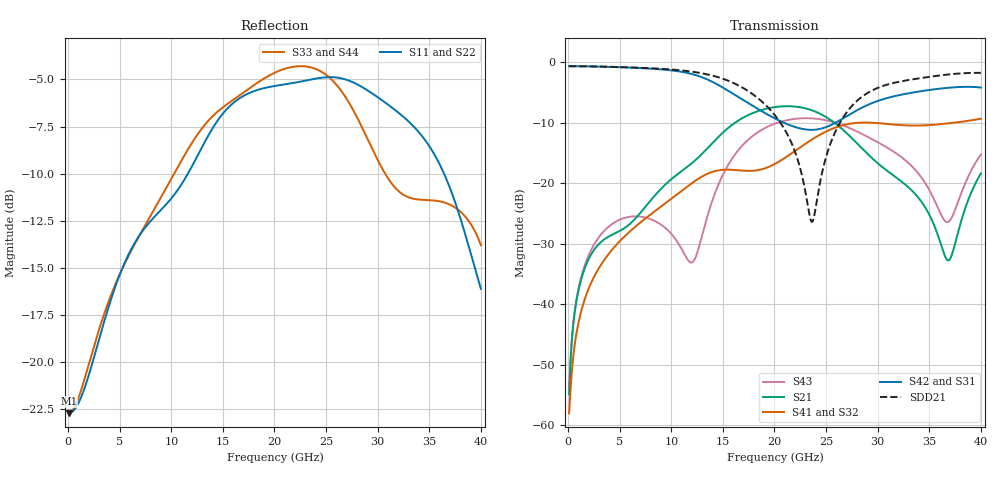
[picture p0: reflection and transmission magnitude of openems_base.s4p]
! E_s8_L1L3_p1000_oval_g2: pair L1→L3, pitch 1 mm, one oval antipad, 2 GND vias
! stackup: 8-layer 1.6 mm FR-4 (generic)
! ports: 1 P near, 2 N near, 3 P far, 4 N far
! openEMS 0.37.0, staircase, base mesh (dfine 0.035 mm), 768105 cells
# Hz S RI R 50
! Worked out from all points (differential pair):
!   400 points, 100 MHz to 40 GHz, reference 50 ohm
!   strongest paths, dB at 100 MHz, 10.1 GHz, 20.1 GHz, 30.1 GHz, 40 GHz:
!     S42: -0.7, -1.4, -9.3, -6.4, -4.2
!     S31: -0.7, -1.4, -9.3, -6.4, -4.2
!     S41: -58.0, -22.4, -16.8, -10.1, -9.3
!     S32: -58.0, -22.4, -16.8, -10.1, -9.3
!     S21: -54.9, -19.2, -7.4, -16.8, -18.4
!     S43: -54.8, -28.6, -10.1, -13.3, -15.3
!   taken as a pair (ports 2,1 in; 4,3 out), SDD21 dB: -0.7, -1.2, -8.9, -4.2, -1.8
!   lowest |S11| = -22.7 dB at 100 MHz (marker M1), VSWR 1.16, Z = 43.2 - j0.059 ohm
!   |S11| at or under -10 dB: start of sweep to 11.61 GHz; 36.43 GHz to end of sweep
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1e8  -0.0733 -0.000679  0.00125 0.00129  0.9259 -0.0353  0.001 -0.000765
     0.00125 0.00129  -0.0733 -0.000679  0.001 -0.000765  0.9259 -0.0353
     0.9259 -0.0353  0.000997 -0.000764  -0.0732 -0.000672  0.00124 0.00132
     0.000997 -0.000764  0.9259 -0.0353  0.00124 0.00132  -0.0732 -0.000672
4.1e9  -0.1417 0.0313  0.0368 0.00259  0.0117 -0.914  -0.0271 0.00072
       0.0368 0.00259  -0.1417 0.0313  -0.0271 0.00072  0.0117 -0.914
       0.0117 -0.914  -0.0271 0.000633  -0.1367 0.0598  0.0449 -0.000456
       -0.0271 0.000633  0.0117 -0.914  0.0449 -0.000456  -0.1367 0.0598
8e9  0.00116 0.2369  0.0552 -0.0463  -0.881 -0.0745  0.000663 0.0554
     0.0552 -0.0463  0.00116 0.2369  0.000663 0.0554  -0.881 -0.0745
     -0.8811 -0.0747  0.000316 0.0553  -0.0161 0.2443  -0.00345 -0.0503
     0.000316 0.0553  -0.8811 -0.0747  -0.00345 -0.0503  -0.0161 0.2443
1.5e10  0.00532 -0.4565  -0.2606 0.0243  0.5667 0.2448  -0.0757 -0.1069
        -0.2606 0.0243  0.00532 -0.4565  -0.0757 -0.1069  0.5667 0.2448
        0.5661 0.2439  -0.0742 -0.1056  0.1256 -0.4572  -0.1145 0.0262
        -0.0742 -0.1056  0.5661 0.2439  -0.1145 0.0262  0.1256 -0.4572
2.27e10  -0.0292 0.5552  0.3237 -0.2688  -0.0581 -0.2745  0.0306 -0.2017
         0.3237 -0.2688  -0.0292 0.5552  0.0306 -0.2017  -0.0581 -0.2745
         -0.0583 -0.2748  0.0273 -0.2018  0.0406 0.6082  0.2196 -0.2645
         0.0273 -0.2018  -0.0583 -0.2748  0.2196 -0.2645  0.0406 0.6082
3.32e10  -0.4019 -0.1518  0.00405 0.0888  0.129 0.5413  0.2494 -0.1675
         0.00405 0.0888  -0.4019 -0.1518  0.2494 -0.1675  0.129 0.5413
         0.1292 0.542  0.25 -0.165  -0.2707 0.0311  0.1398 0.0186
         0.25 -0.165  0.1292 0.542  0.1398 0.0186  -0.2707 0.0311
4e10  0.0737 0.1381  0.0411 0.1132  0.1499 -0.6004  -0.3369 0.064
      0.0411 0.1132  0.0737 0.1381  -0.3369 0.064  0.1499 -0.6004
      0.1484 -0.5989  -0.3359 0.0576  0.1666 0.1185  0.1631 -0.0567
      -0.3359 0.0576  0.1484 -0.5989  0.1631 -0.0567  0.1666 0.1185
